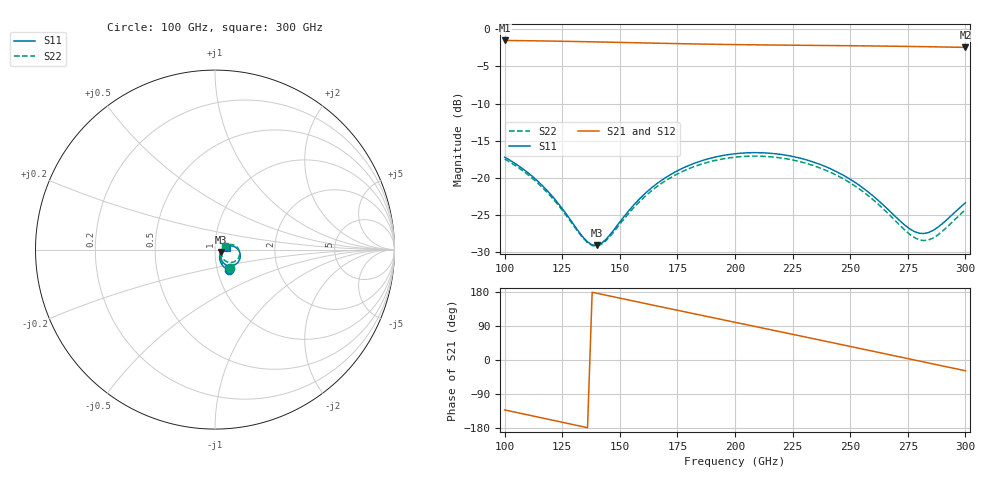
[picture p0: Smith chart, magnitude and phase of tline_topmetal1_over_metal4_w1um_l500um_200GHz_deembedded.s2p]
! Created with skrf 2.0.1 (http://scikit-rf.org).
# GHz S DB R 50.0
!freq dBS11 angS11 dBS21 angS21 dBS12 angS12 dBS22 angS22
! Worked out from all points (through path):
!   101 points, 100 GHz to 300 GHz, reference 50 ohm
!   highest |S21| = -1.52 dB at 100 GHz (marker M1); lowest = -2.4 dB at 300 GHz (marker M2)
!   group delay of S21, straight-line fit = 3.55 ps
!   lowest |S11| = -29.1 dB at 140 GHz (marker M3), VSWR 1.07, Z = 53.3 - j1.42 ohm
!   |S11| at or under -10 dB: start of sweep to end of sweep
!   |S22| runs from -29.2 to -17.1 dB; largest |S21 - S12| = 1.4e-13
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100  -17.21 -55.7  -1.52 -131.7  -1.52 -131.7  -17.47 -51.8
110  -19.28 -62.8  -1.56 -144.8  -1.56 -144.8  -19.54 -58.3
118  -21.54 -65.9  -1.59 -155.2  -1.59 -155.2  -21.80 -60.9
126  -24.53 -63.5  -1.63 -165.6  -1.63 -165.6  -24.75 -58.0
134  -27.96 -47.5  -1.68 -176.0  -1.68 -176.0  -28.08 -41.9
138  -29.01 -31.3  -1.70 178.8  -1.70 178.8  -29.10 -26.1
140  -29.08 -22.1  -1.72 176.2  -1.72 176.2  -29.18 -17.2
144  -28.27 -5.5  -1.74 171.0  -1.74 171.0  -28.45 -0.9
154  -24.37 13.2  -1.81 158.1  -1.81 158.1  -24.71 18.4
160  -22.38 14.5  -1.85 150.4  -1.85 150.4  -22.76 20.2
168  -20.35 11.8  -1.90 140.2  -1.90 140.2  -20.76 18.1
184  -17.85 0.2  -2.00 119.8  -2.00 119.8  -18.29 7.4
200  -16.75 -14.1  -2.07 99.5  -2.07 99.5  -17.21 -6.1
216  -16.71 -29.1  -2.13 79.2  -2.13 79.2  -17.18 -20.3
224  -17.06 -36.4  -2.16 69.0  -2.16 69.0  -17.53 -27.3
234  -17.87 -45.0  -2.18 56.3  -2.18 56.3  -18.35 -35.6
252  -20.58 -56.7  -2.23 33.2  -2.23 33.2  -21.07 -46.9
268  -24.72 -54.4  -2.29 12.7  -2.29 12.7  -25.27 -45.0
276  -26.89 -40.9  -2.32 2.4  -2.32 2.4  -27.63 -31.8
282  -27.48 -24.1  -2.35 -5.3  -2.35 -5.3  -28.42 -14.3
288  -26.65 -8.1  -2.38 -13.0  -2.38 -13.0  -27.68 3.1
300  -23.35 5.8  -2.45 -28.3  -2.45 -28.3  -24.27 18.9
